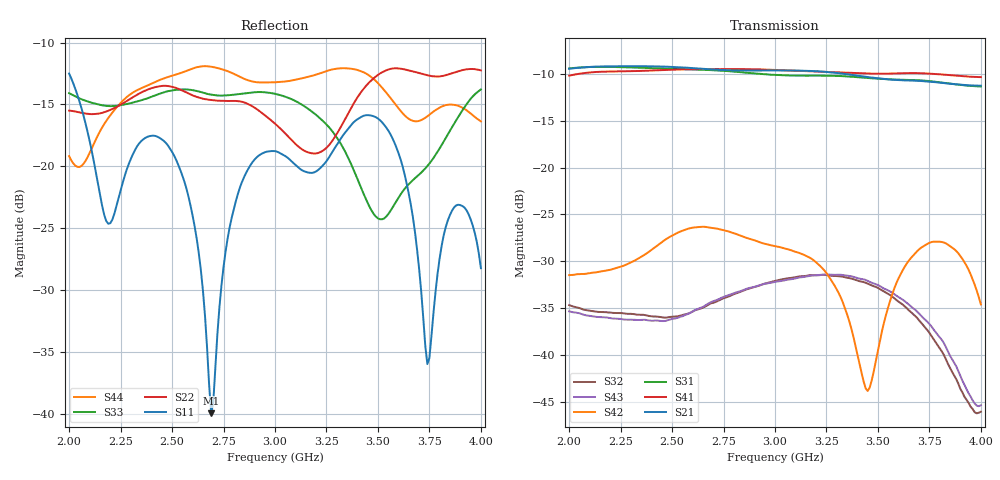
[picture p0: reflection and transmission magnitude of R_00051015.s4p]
!Agilent Technologies,N5224A,MY51441093,A.09.90.21
!Agilent N5224A: A.09.90.21
!Date: Friday, December 19, 2025 16:47:08
!Correction: S11(Full 4 Port(1,2,3,4))
!S12(Full 4 Port(1,2,3,4))
!S13(Full 4 Port(1,2,3,4))
!S14(Full 4 Port(1,2,3,4))
!S21(Full 4 Port(1,2,3,4))
!S22(Full 4 Port(1,2,3,4))
!S23(Full 4 Port(1,2,3,4))
!S24(Full 4 Port(1,2,3,4))
!S31(Full 4 Port(1,2,3,4))
!S32(Full 4 Port(1,2,3,4))
!S33(Full 4 Port(1,2,3,4))
!S34(Full 4 Port(1,2,3,4))
!S41(Full 4 Port(1,2,3,4))
!S42(Full 4 Port(1,2,3,4))
!S43(Full 4 Port(1,2,3,4))
!S44(Full 4 Port(1,2,3,4))
!S4P File: Measurements: <S11,S12,S13,S14>,
!<S21,S22,S23,S24>,
!<S31,S32,S33,S34>,
!<S41,S42,S43,S44>:
# Hz S  dB  R 50
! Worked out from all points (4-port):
!   201 points, 2 GHz to 4 GHz, reference 50 ohm
!   strongest paths, dB at 2 GHz, 2.5 GHz, 3 GHz, 3.5 GHz, 4 GHz:
!     S21: -9.4, -9.2, -9.6, -10.4, -11.2
!     S41: -10.2, -9.5, -9.5, -10.0, -10.3
!     S31: -9.4, -9.4, -10.1, -10.5, -11.3
!     S42: -31.5, -27.3, -28.4, -39.6, -34.6
!     S43: -35.4, -36.2, -32.2, -32.5, -45.4
!     S32: -34.7, -35.9, -32.1, -32.9, -46.1
!   lowest |S11| = -40.0 dB at 2.69 GHz (marker M1), VSWR 1.02, Z = 50.2 - j0.978 ohm
!   |S11| at or under -10 dB: start of sweep to end of sweep
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2e9  -12.51 -57.9  -9.39 -38.5  -9.34 169.1  -10.28 75.6
     -9.42 -38.6  -15.51 -125.9  -34.67 -37.6  -31.63 -147.7
     -9.40 169.3  -34.70 -37.4  -14.09 -48.9  -35.53 76.5
     -10.17 75.8  -31.49 -147.4  -35.36 76.6  -19.18 74.4
2.53e9  -19.88 -100.5  -9.23 41.1  -9.39 -97.2  -9.62 148.8
        -9.27 41.0  -13.73 166.9  -35.85 164.7  -27.07 -171.4
        -9.46 -97.2  -35.88 164.8  -13.81 -173.7  -36.21 -87.5
        -9.51 148.9  -26.93 -171.2  -36.04 -87.6  -12.53 -153.2
2.69e9  -39.97 -76.0  -9.46 -40.1  -9.51 -177.3  -9.56 66.8
        -9.50 -40.2  -14.64 147.1  -34.47 27.8  -26.58 83.2
        -9.57 -177.3  -34.50 27.9  -14.21 150.0  -34.54 135.4
        -9.45 66.9  -26.43 83.3  -34.36 135.5  -11.96 171.4
2.93e9  -19.04 -47.8  -9.57 -159.5  -9.91 63.0  -9.59 -54.1
        -9.62 -159.6  -15.61 114.7  -32.52 179.1  -28.15 -50.7
        -9.98 63.2  -32.55 179.3  -14.00 102.0  -32.71 -74.3
        -9.50 -53.9  -28.01 -50.4  -32.53 -74.2  -13.23 132.3
3.45e9  -15.87 -106.1  -10.28 -60.7  -10.33 164.2  -10.00 51.9
        -10.32 -60.7  -13.36 100.0  -32.34 77.4  -43.95 98.8
        -10.42 164.5  -32.40 77.8  -22.96 -78.5  -32.24 -168.9
        -9.94 52.1  -43.87 98.9  -32.10 -169.0  -12.58 51.7
3.74e9  -35.99 -134.7  -10.75 157.3  -10.63 18.5  -9.97 -88.8
        -10.79 157.4  -12.64 46.1  -37.30 170.9  -28.22 -4.9
        -10.72 18.9  -37.37 171.2  -19.99 124.2  -36.61 -77.8
        -9.94 -88.4  -28.15 -4.5  -36.47 -78.0  -15.97 31.3
4e9  -28.24 -146.4  -11.19 30.2  -11.23 -111.7  -10.36 145.4
     -11.24 30.5  -12.25 4.7  -46.02 -141.7  -34.69 -156.4
     -11.32 -111.2  -46.09 -141.3  -13.79 75.1  -45.56 -26.1
     -10.32 146.1  -34.62 -155.8  -45.40 -26.3  -16.37 2.7
